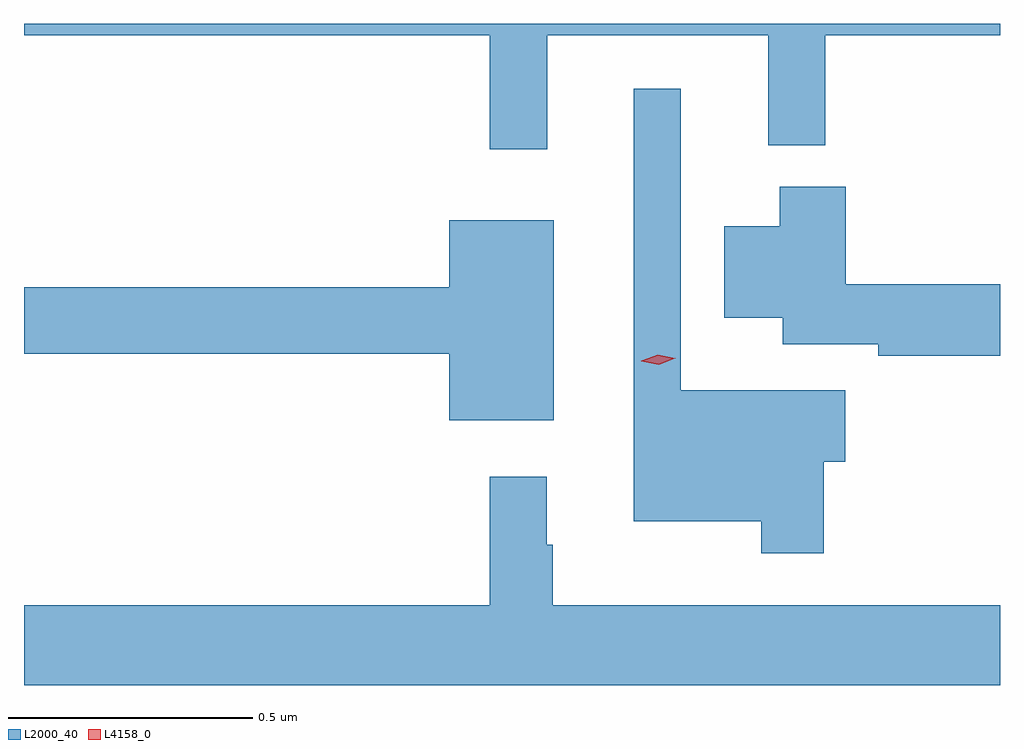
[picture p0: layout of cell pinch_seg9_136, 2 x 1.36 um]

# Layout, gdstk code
import gdstk
lib = gdstk.Library(unit=1e-6, precision=1e-09)
def P(c, l, *ps):  # polygons
    for p in ps: c.add(gdstk.Polygon(p, *l))
L2000_40 = (2000, 40)
L4158_0 = (4158, 0)

pinch_seg9_136 = lib.new_cell('pinch_seg9_136')
P(pinch_seg9_136, L2000_40, [(786.713,1248.368),(787.166,1248.368),(787.166,1248.143),(787.283,1248.143),(787.283,1248.368),(787.641,1248.368),(787.641,1248.392),(785.641,1248.392),(785.641,1248.368),(786.595,1248.368),(786.595,1248.135),(786.713,1248.135)],
  [(787.28,1247.494),(787.324,1247.494),(787.324,1247.641),(786.987,1247.641),(786.987,1248.259),(786.89,1248.259),(786.89,1247.372),(787.152,1247.372),(787.152,1247.307),(787.28,1247.307)],
  [(787.641,1247.858),(787.325,1247.858),(787.325,1248.058),(787.19,1248.058),(787.19,1247.977),(787.076,1247.977),(787.076,1247.789),(787.196,1247.789),(787.196,1247.735),(787.392,1247.735),(787.392,1247.711),(787.641,1247.711)],
  [(786.727,1247.989),(786.512,1247.989),(786.512,1247.852),(785.641,1247.852),(785.641,1247.716),(786.512,1247.716),(786.512,1247.579),(786.727,1247.579)],
  [(787.641,1247.2),(786.724,1247.2),(786.724,1247.324),(786.712,1247.324),(786.712,1247.464),(786.595,1247.464),(786.595,1247.2),(785.641,1247.2),(785.641,1247.036),(787.641,1247.036)])
P(pinch_seg9_136, L4158_0, [(786.942,1247.693),(786.906,1247.7),(786.906,1247.701),(786.906,1247.701),(786.94,1247.713),(786.976,1247.706),(786.977,1247.706),(786.976,1247.706)])

lib.write_gds('pinch_seg9_136.gds')
